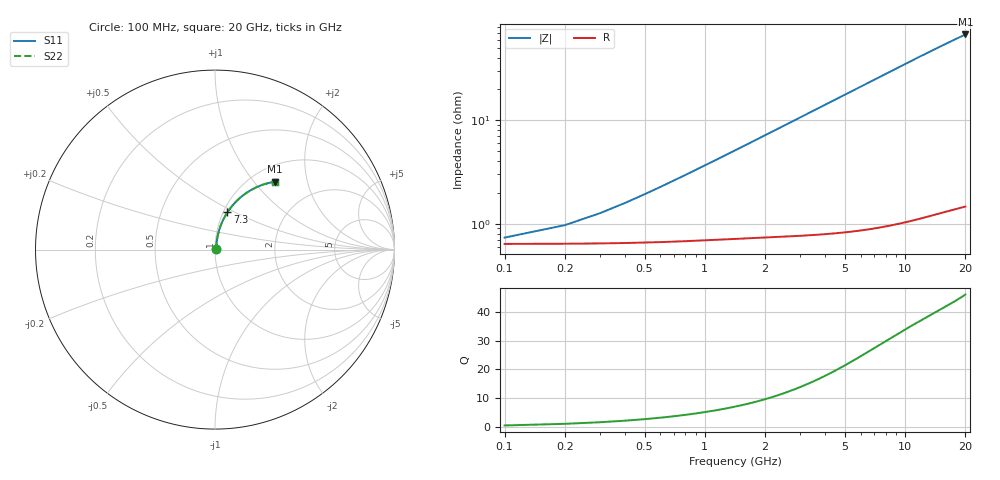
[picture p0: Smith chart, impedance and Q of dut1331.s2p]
! Touchstone file exported from HFSS 2026.1.0
!  File:  C:/ffzhzh/LocalFiles/Ansys_Project_Files/temp_train_TMRDL_1331_1783165200_22436.aedt
!  Generated:  07:41:15 PM Jul  4, 2026
!  Design:  TMRDL
!  Project:  temp_train_TMRDL_1331_1783165200_22436
! Variables:
!  h_bsmrdl = 2um
!  h_ox = 20um
!  h_rdl = 5um
!  h_sub = 80um
!  h_tmrdl = 2.52um
!  h_tsv = 80um
!  h_via = 3um
!  l_bsmrdl = 300um
!  l_sub = 848.93um
!  l_tmrdl = 448.93um
!  m_sub = 200um
!  pitch = 55.54um
!  r_tsv = 6um
!  s_tmrdl = 10um
!  w_bsmrdl = 18um
!  w_sub = 500um
!  w_tmrdl = 10.04um
!  x_tsv_center1 = 453.95um
!  x_tsv_center2 = 771.95um
!  x_tsv_center3 = 1230.92um
!  x_tsv_center4 = 1548.92um
!  x_tsv_center5 = 2007.89um
!  x_tsv_center6 = 2325.89um
# GHz S MA R 50.000000
! Terminal data exported
! Port[1] = TM_RDL1_1_T1
! Port[2] = TM_RDL1_1_T2
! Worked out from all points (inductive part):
!   200 points, 100 MHz to 20 GHz, reference 50 ohm
!   read as one part in series: L = 573 pH near 600 MHz
!   highest Q = 45.9 at 20 GHz (marker M1), where L = 535 pH
!   S11 on the Smith chart (normalised r, x): 100 MHz: 1.01, +0.01; 7.3 GHz: 1.05, +0.46; 20 GHz: 1.27, +1.29
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0.1  0.007107 26.6  0.9937 -0.2  0.9937 -0.2  0.007107 26.6
! Gamma 0 0 0 0
! Port Impedance 50 0 50 0
0.3  0.01154 55.5  0.9935 -0.7  0.9935 -0.7  0.01154 55.5
0.4  0.01431 62.2  0.9934 -0.9  0.9934 -0.9  0.01431 62.2
0.5  0.01722 66.5  0.9933 -1.2  0.9933 -1.2  0.01722 66.5
0.6  0.02018 69.5  0.9932 -1.4  0.9932 -1.4  0.02018 69.5
0.7  0.02319 71.7  0.9931 -1.6  0.9931 -1.6  0.02319 71.7
0.9  0.02924 74.5  0.9928 -2.1  0.9928 -2.1  0.02924 74.5
1.2  0.03836 76.8  0.9923 -2.7  0.9923 -2.7  0.03836 76.8
1.4  0.04445 77.7  0.992 -3.2  0.992 -3.2  0.04445 77.7
1.7  0.05359 78.4  0.9914 -3.9  0.9914 -3.9  0.05359 78.4
2.2  0.06882 78.9  0.9903 -5.0  0.9903 -5.0  0.06882 78.9
2.8  0.08705 78.7  0.9887 -6.3  0.9887 -6.3  0.08705 78.7
3.5  0.1082 78.1  0.9865 -7.9  0.9865 -7.9  0.1082 78.1
4.2  0.1292 77.1  0.9838 -9.4  0.9838 -9.4  0.1292 77.1
5  0.1529 75.8  0.9802 -11.2  0.9802 -11.2  0.1529 75.8
6.8  0.2049 72.5  0.9701 -15.1  0.9701 -15.1  0.2049 72.5
7.3  0.219 71.6  0.9669 -16.1  0.9669 -16.1  0.219 71.6
8.6  0.2547 69.1  0.9578 -18.8  0.9578 -18.8  0.2547 69.1
10.1  0.2942 66.2  0.946 -21.9  0.946 -21.9  0.2942 66.2
13.4  0.3742 59.9  0.9165 -28.4  0.9165 -28.4  0.3742 59.9
16.7  0.4441 54.1  0.8841 -34.4  0.8841 -34.4  0.4441 54.1
20  0.5044 48.6  0.851 -40.0  0.851 -40.0  0.5044 48.6
